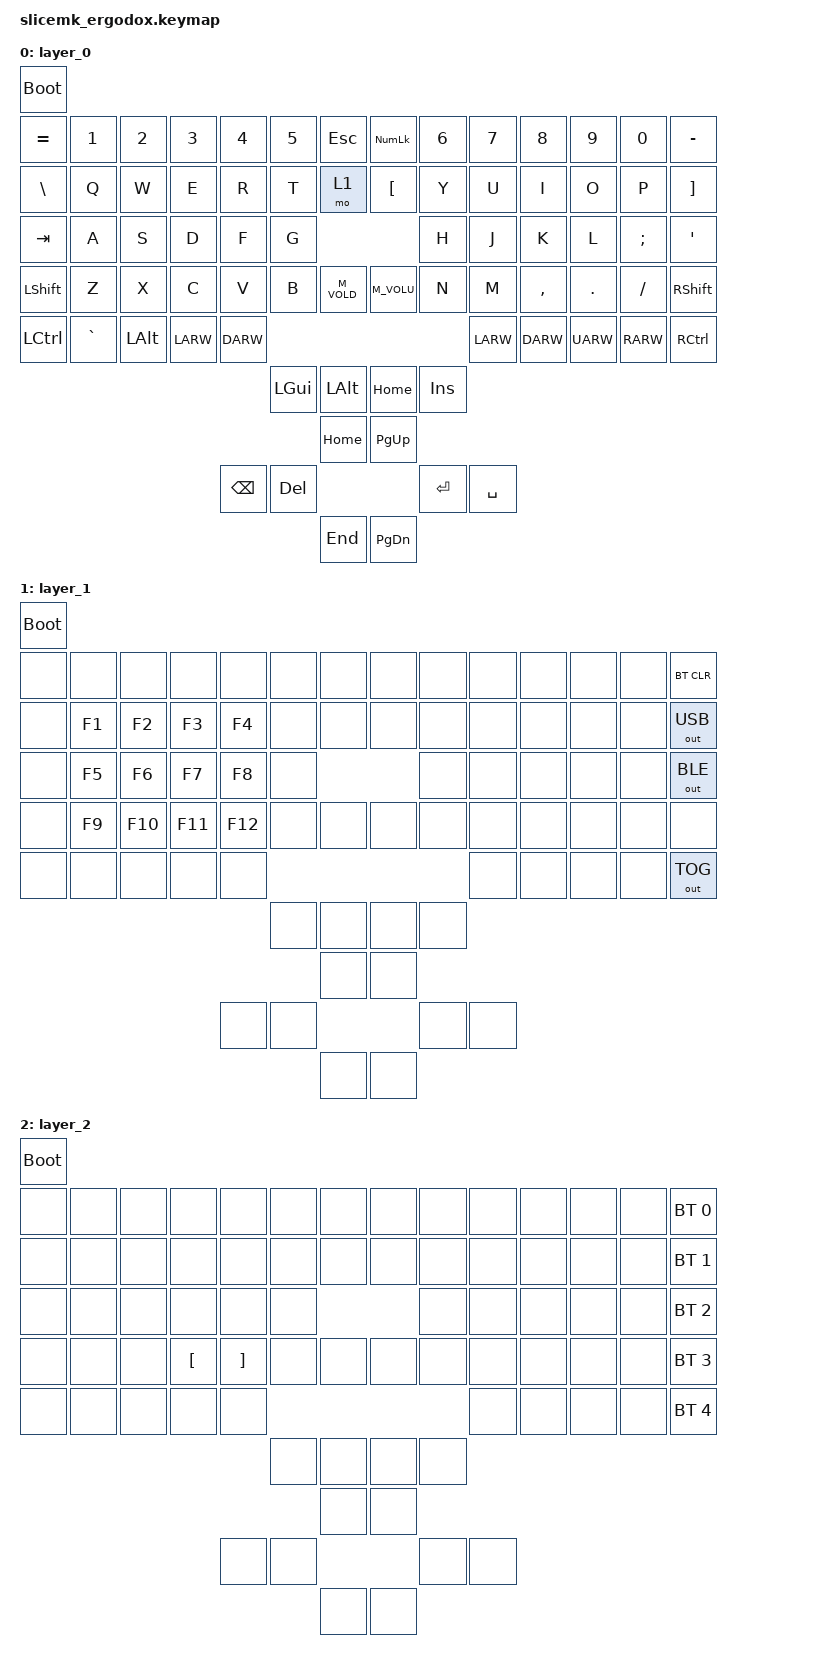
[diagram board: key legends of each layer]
#include <behaviors.dtsi>
#include <dt-bindings/zmk/bt.h>
#include <dt-bindings/zmk/keys.h>
#include <dt-bindings/zmk/outputs.h>

/ {
        keymap {
                compatible = "zmk,keymap";

                layer_0 {
                        bindings = <
    &bootloader
    &kp EQUAL  &kp NUM_1  &kp NUM_2  &kp NUM_3  &kp NUM_4  &kp NUM_5  &kp ESC   &kp KP_NUM    &kp NUM_6  &kp NUM_7  &kp NUM_8  &kp NUM_9  &kp NUM_0   &kp MINUS
    &kp BSLH   &kp Q      &kp W      &kp E      &kp R      &kp T      &mo 1     &kp LBKT   &kp Y      &kp U      &kp I      &kp O      &kp P      &kp RBKT
    &kp TAB    &kp A      &kp S      &kp D      &kp F      &kp G                            &kp H      &kp J      &kp K      &kp L      &kp SCLN   &kp SQT
    &kp LSHFT  &kp Z      &kp X      &kp C      &kp V      &kp B      &kp M_VOLD &kp M_VOLU &kp N      &kp M      &kp CMMA   &kp DOT    &kp FSLH   &kp RSHFT
    &kp LCTRL  &kp GRAV   &kp LALT   &kp LARW   &kp DARW                                               &kp LARW   &kp DARW   &kp UARW   &kp RARW   &kp RCTRL
                                                           &kp LGUI   &kp LALT   &kp HOME    &kp INS
                                                                      &kp HOME   &kp PG_UP
                                                &kp BSPC   &kp DEL                          &kp RET    &kp SPC
                                                                      &kp END    &kp PG_DN
                        >;
                };

                layer_1 {
                        bindings = <
    &bootloader
    &none      &none      &none      &none      &none      &none      &none      &none      &none      &none      &none      &none      &none      &bt BT_CLR
    &none      &kp F1     &kp F2     &kp F3     &kp F4     &none      &none      &none      &none      &none      &none      &none      &none      &out OUT_USB
    &none      &kp F5     &kp F6     &kp F7     &kp F8     &none                            &none      &none      &none      &none      &none      &out OUT_BLE
    &none      &kp F9     &kp F10    &kp F11    &kp F12    &none      &none      &none      &none      &none      &none      &none      &none      &none
    &none      &none      &none      &none      &none                                                  &none      &none      &none      &none      &out OUT_TOG
                                                           &none      &none      &none      &none
                                                                      &none      &none
                                                &none      &none                            &none      &none
                                                                      &none      &none
                        >;
                };

                layer_2 {
                        bindings = <
    &bootloader
    &none      &none      &none      &none      &none      &none      &none      &none      &none      &none      &none      &none      &none      &bt BT_SEL 0
    &none      &none      &none      &none      &none      &none      &none      &none      &none      &none      &none      &none      &none      &bt BT_SEL 1
    &none      &none      &none      &none      &none      &none                            &none      &none      &none      &none      &none      &bt BT_SEL 2
    &none      &none      &none      &kp LBKT   &kp RBKT   &none      &none      &none      &none      &none      &none      &none      &none      &bt BT_SEL 3
    &none      &none      &none      &none      &none                                                  &none      &none      &none      &none      &bt BT_SEL 4
                                                           &none      &none      &none      &none
                                                                      &none      &none
                                                &none      &none                            &none      &none
                                                                      &none      &none
                        >;
                };

        };
};
